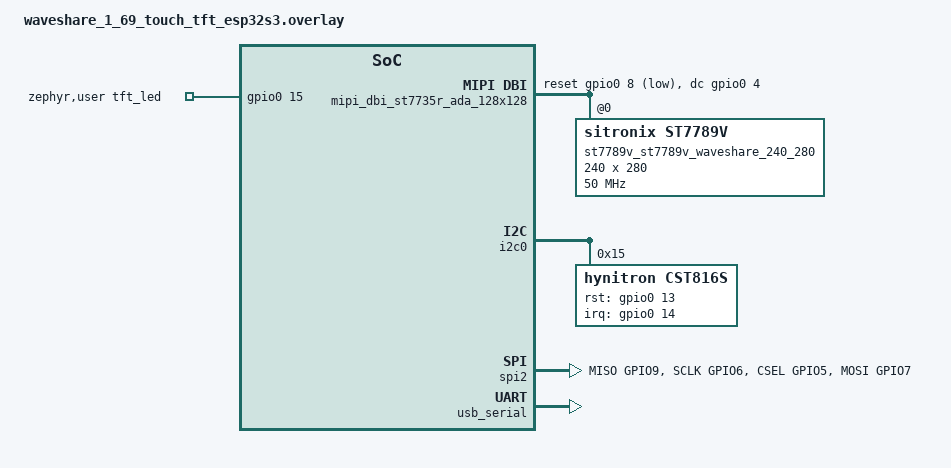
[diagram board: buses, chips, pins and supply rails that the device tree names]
/*
* Copyright (c) 2020, Kim Bøndergaard, <kim@fam-boendergaard.dk>
*
* SPDX-License-Identifier: Apache-2.0
*/

#include <zephyr/dt-bindings/mipi_dbi/mipi_dbi.h>

&pinctrl {
    waveshare_tftspi_bus: waveshare_tftspi_bus {
        group1 {
            pinmux = <SPIM2_MISO_GPIO9>,
            <SPIM2_SCLK_GPIO6>,
            <SPIM2_CSEL_GPIO5>;
        };
        group2 {
            pinmux = <SPIM2_MOSI_GPIO7>;
            output-low;
        };
    };
    
    waveshare_i2c_bus: waveshare_i2c_bus{
        group1 {
            pinmux = <I2C0_SDA_GPIO11>,
            <I2C0_SCL_GPIO10>;
            bias-pull-up;
            drive-open-drain;
            output-high;
        };
    };
};

&i2c0 {
    status = "okay";
    pinctrl-0 = <&waveshare_i2c_bus>;
    
    // 51 or 6b
    cst816s: cst816s@15 {
        compatible = "hynitron,cst816s";
        reg = <0x15>;
        rst-gpios = <&gpio0 13 GPIO_ACTIVE_HIGH>;
        irq-gpios = <&gpio0 14 GPIO_ACTIVE_HIGH>;
        status = "okay";
    };
};

&spi2 {
    pinctrl-0 = <&waveshare_tftspi_bus>;
};

&usb_serial {
    status = "okay";
};

/* 16MB flash */
&flash0 {
    reg = <0x0 DT_SIZE_M(16)>;
};



/* 8MB psram */
&psram0 {
    size = <DT_SIZE_M(8)>;
};

/ {
    chosen {
        zephyr,display = &st7789v_st7789v_waveshare_240_280;
        zephyr,console = &usb_serial;
        zephyr,shell-uart = &usb_serial;
    };
    
    zephyr,user {
        tft_led-gpios = <&gpio0 15 GPIO_ACTIVE_HIGH>;
    };
    
    mipi_dbi_st7735r_ada_128x128 {
        compatible = "zephyr,mipi-dbi-spi";
        spi-dev = <&spi2>;
        dc-gpios = <&gpio0 4 GPIO_ACTIVE_HIGH>;	    /* D41 */
        reset-gpios = <&gpio0 8 GPIO_ACTIVE_LOW>;	/* D39 */
        #address-cells = <1>;
        #size-cells = <0>;
        
        st7789v_st7789v_waveshare_240_280: st7789v@0 {
            compatible = "sitronix,st7789v";
            mipi-max-frequency = <50000000>;
            reg = <0>;
            width = <240>;
            height = <280>;
            x-offset = <0>;
            y-offset = <0>;
            vcom = <0x19>;
            gctrl = <0x35>;
            vrhs = <0x12>;
            vdvs = <0x20>;
            mdac = <0x00>;
            gamma = <0x02>;// 01h G2.2 ; 02h G1.8 ; 03h G2.5; 04h G1.0
            colmod = <0x65>;
            lcm = <0x2c>;
            porch-param = [0c 0c 00 33 33];
            cmd2en-param = [5a 69 02 01];
            pwctrl1-param = [52 a1];
            pvgam-param = [D0 04 0D 11 13 2B 3F 54 4C 18 0D 0B 1F 23];
            nvgam-param = [D0 04 0C 11 13 2C 3F 44 51 2F 1F 1F 20 23];
            ram-param = [00 C0];
            rgb-param = [CD 08 14];
            mipi-mode = "MIPI_DBI_MODE_SPI_4WIRE";
        };
    };
};

